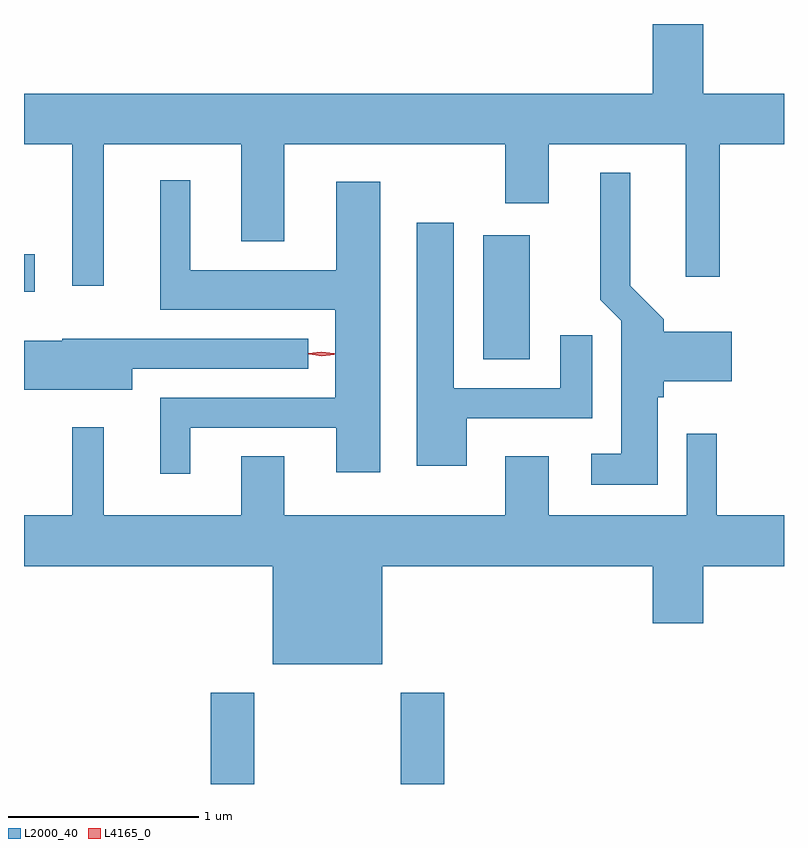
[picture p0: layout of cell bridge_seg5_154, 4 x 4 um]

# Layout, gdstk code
import gdstk
lib = gdstk.Library(unit=1e-6, precision=1e-09)
def R(c, l, rs):  # rectangles x0, y0, x1, y1
    for r in rs: c.add(gdstk.rectangle(r[:2], r[2:], *l))
def P(c, l, *ps):  # polygons
    for p in ps: c.add(gdstk.Polygon(p, *l))
L2000_40 = (2000, 40)
L4165_0 = (4165, 0)

bridge_seg5_154 = lib.new_cell('bridge_seg5_154')
R(bridge_seg5_154, L2000_40, [(1111.851,1457.87,1112.079,1458.349), (1112.851,1457.87,1113.079,1458.349), (1113.286,1460.106,1113.529,1460.759), (1110.868,1460.461,1110.924,1460.659)])
P(bridge_seg5_154, L2000_40, [(1111.289,1461.236),(1112.011,1461.236),(1112.011,1460.726),(1112.239,1460.726),(1112.239,1461.236),(1113.401,1461.236),(1113.401,1460.926),(1113.629,1460.926),(1113.629,1461.236),(1114.351,1461.236),(1114.351,1460.541),(1114.529,1460.541),(1114.529,1461.236),(1114.868,1461.236),(1114.868,1461.504),(1114.444,1461.504),(1114.444,1461.87),(1114.176,1461.87),(1114.176,1461.504),(1110.868,1461.504),(1110.868,1461.236),(1111.121,1461.236),(1111.121,1460.493),(1111.289,1460.493)],
  [(1114.204,1459.906),(1114.234,1459.906),(1114.234,1459.991),(1114.594,1459.991),(1114.594,1460.249),(1114.234,1460.249),(1114.234,1460.317),(1114.059,1460.492),(1114.059,1461.088),(1113.901,1461.088),(1113.901,1460.419),(1114.011,1460.309),(1114.011,1459.609),(1113.853,1459.609),(1113.853,1459.446),(1114.204,1459.446)],
  [(1111.744,1459.746),(1112.511,1459.746),(1112.511,1459.511),(1112.744,1459.511),(1112.744,1461.039),(1112.511,1461.039),(1112.511,1460.574),(1111.744,1460.574),(1111.744,1461.048),(1111.586,1461.048),(1111.586,1460.366),(1112.506,1460.366),(1112.506,1459.904),(1111.586,1459.904),(1111.586,1459.503),(1111.744,1459.503)],
  [(1113.199,1459.796),(1113.859,1459.796),(1113.859,1460.233),(1113.691,1460.233),(1113.691,1459.954),(1113.129,1459.954),(1113.129,1460.824),(1112.936,1460.824),(1112.936,1459.546),(1113.199,1459.546)],
  [(1111.439,1460.056),(1112.363,1460.056),(1112.363,1460.214),(1111.07,1460.214),(1111.07,1460.204),(1110.868,1460.204),(1110.868,1459.946),(1111.439,1459.946)],
  [(1112.754,1459.016),(1114.176,1459.016),(1114.176,1458.716),(1114.444,1458.716),(1114.444,1459.016),(1114.868,1459.016),(1114.868,1459.284),(1114.514,1459.284),(1114.514,1459.713),(1114.356,1459.713),(1114.356,1459.284),(1113.629,1459.284),(1113.629,1459.594),(1113.401,1459.594),(1113.401,1459.284),(1112.239,1459.284),(1112.239,1459.594),(1112.011,1459.594),(1112.011,1459.284),(1111.289,1459.284),(1111.289,1459.748),(1111.121,1459.748),(1111.121,1459.284),(1110.868,1459.284),(1110.868,1459.016),(1112.176,1459.016),(1112.176,1458.501),(1112.754,1458.501)])
P(bridge_seg5_154, L4165_0, [(1112.433,1460.125),(1112.364,1460.134),(1112.364,1460.135),(1112.364,1460.136),(1112.433,1460.145),(1112.502,1460.136),(1112.503,1460.135),(1112.502,1460.134)],
  [(1112.434,1460.122),(1112.368,1460.132),(1112.367,1460.133),(1112.368,1460.134),(1112.434,1460.142),(1112.5,1460.131),(1112.5,1460.131),(1112.5,1460.13)])

lib.write_gds('bridge_seg5_154.gds')
